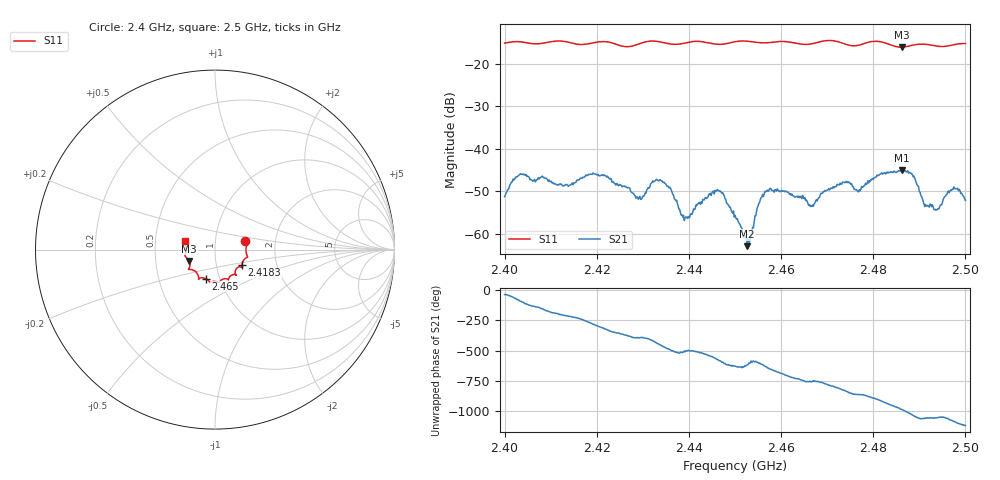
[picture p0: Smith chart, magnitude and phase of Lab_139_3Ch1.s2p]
# Hz S RI R 50
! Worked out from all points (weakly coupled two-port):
!   601 points, 2.4 GHz to 2.5 GHz, reference 50 ohm
!   highest |S21| = -44.97 dB at 2.4862 GHz (marker M1); lowest = -62.9 dB at 2.4527 GHz (marker M2)
!   lowest |S11| = -16.1 dB at 2.4862 GHz (marker M3), VSWR 1.37, Z = 37.1 - j4.83 ohm
!   |S11| at or under -10 dB: start of sweep to end of sweep
!   S12 and S22 are empty: the file has one direction only
!   S11 on the Smith chart (normalised r, x): 2.4 GHz: 1.40, +0.13; 2.4183 GHz: 1.33, -0.24; 2.465 GHz: 0.86, -0.29; 2.5 GHz: 0.71, +0.07
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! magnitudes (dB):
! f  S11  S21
! 2.4 GHz  -15.1  -51.3
! 2.4037 GHz  -14.8  -46.0
! 2.4167 GHz  -15.4  -46.9
! 2.4183 GHz  -15.2  -46.1
! 2.4293 GHz  -15.2  -51.2
! 2.4333 GHz  -14.7  -47.5
! 2.4392 GHz  -15.1  -56.3
! 2.4462 GHz  -15.4  -49.6
! 2.45 GHz  -14.8  -55.6
! 2.4527 GHz  -14.6  -62.9
! 2.457 GHz  -15.0  -49.7
! 2.465 GHz  -15.4  -51.7
! 2.4667 GHz  -15.3  -53.5
! 2.4727 GHz  -14.9  -48.5
! 2.4768 GHz  -15.6  -50.1
! 2.4833 GHz  -15.3  -45.5
! 2.4862 GHz  -16.1  -45.0
! 2.4885 GHz  -15.6  -46.1
! 2.4917 GHz  -15.4  -53.5
! 2.4938 GHz  -15.8  -54.3
! 2.4978 GHz  -15.4  -49.4
! 2.5 GHz  -15.2  -52.1
